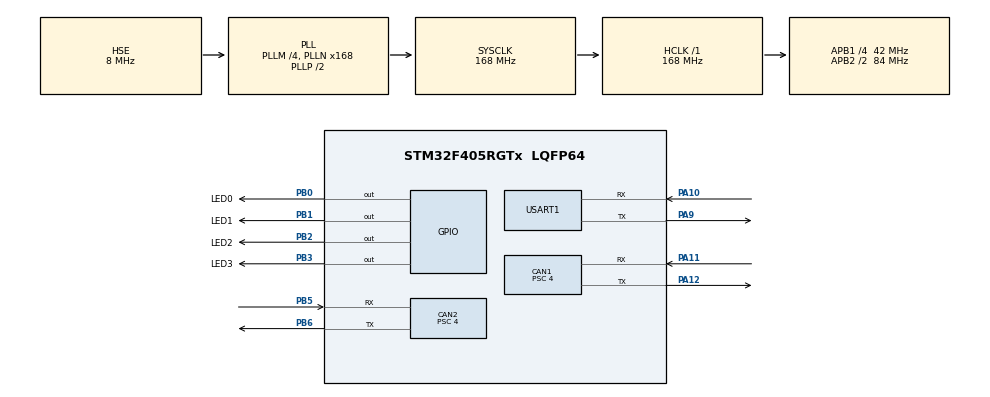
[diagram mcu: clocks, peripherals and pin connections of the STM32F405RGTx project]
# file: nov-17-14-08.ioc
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CAN1.ABOM=ENABLE
CAN1.AWUM=ENABLE
CAN1.BS1=CAN_BS1_16TQ
CAN1.BS2=CAN_BS2_4TQ
CAN1.CalculateBaudRate=500000
CAN1.CalculateTimeBit=2000
CAN1.CalculateTimeQuantum=95.23809523809524
CAN1.Prescaler=4
CAN1.SJW=CAN_SJW_2TQ
CAN2.ABOM=ENABLE
CAN2.AWUM=ENABLE
CAN2.BS1=CAN_BS1_16TQ
CAN2.BS2=CAN_BS2_4TQ
CAN2.CalculateBaudRate=500000
CAN2.CalculateTimeBit=2000
CAN2.CalculateTimeQuantum=95.23809523809524
CAN2.Prescaler=4
CAN2.SJW=CAN_SJW_2TQ
Mcu.Family=STM32F4
Mcu.Name=STM32F405RGTx
Mcu.Package=LQFP64
NVIC.CAN1_RX0_IRQn=true\:0\:0\:false\:false\:true\:true\:true\:true
NVIC.CAN2_RX1_IRQn=true\:0\:0\:false\:false\:true\:true\:true\:true
NVIC.PriorityGroup=NVIC_PRIORITYGROUP_4
NVIC.TIM2_IRQn=true\:0\:0\:false\:false\:true\:true\:true\:true
NVIC.TIM3_IRQn=true\:0\:0\:false\:false\:true\:true\:true\:true
PA10.Mode=Asynchronous
PA10.Signal=USART1_RX
PA11.Mode=CAN_Activate
PA11.Signal=CAN1_RX
PA12.Mode=CAN_Activate
PA12.Signal=CAN1_TX
PA9.Mode=Asynchronous
PA9.Signal=USART1_TX
PB0.GPIO_Label=LED0
PB0.Signal=GPIO_Output
PB1.GPIO_Label=LED1
PB1.Signal=GPIO_Output
PB2.GPIO_Label=LED2
PB2.Signal=GPIO_Output
PB3.GPIO_Label=LED3
PB3.Signal=GPIO_Output
PB5.Mode=CAN_Activate
PB5.Signal=CAN2_RX
PB6.Mode=CAN_Activate
PB6.Signal=CAN2_TX
PH0-OSC_IN.Mode=HSE-External-Oscillator
PH0-OSC_IN.Signal=RCC_OSC_IN
PH1-OSC_OUT.Mode=HSE-External-Oscillator
PH1-OSC_OUT.Signal=RCC_OSC_OUT
ProjectManager.HeapSize=0x200
ProjectManager.StackSize=0x400
ProjectManager.TargetToolchain=STM32CubeIDE
RCC.48MHZClocksFreq_Value=84000000
RCC.AHBFreq_Value=168000000
RCC.APB1CLKDivider=RCC_HCLK_DIV4
RCC.APB1Freq_Value=42000000
RCC.APB1TimFreq_Value=84000000
RCC.APB2CLKDivider=RCC_HCLK_DIV2
RCC.APB2Freq_Value=84000000
RCC.APB2TimFreq_Value=168000000
RCC.CortexFreq_Value=168000000
RCC.HCLKFreq_Value=168000000
RCC.HSE_VALUE=8000000
RCC.HSI_VALUE=16000000
RCC.LSE_VALUE=32768
RCC.PLLM=4
RCC.PLLN=168
RCC.PLLSourceVirtual=RCC_PLLSOURCE_HSE
RCC.SYSCLKFreq_VALUE=168000000
RCC.SYSCLKSource=RCC_SYSCLKSOURCE_PLLCLK
RCC.VCOOutputFreq_Value=336000000
TIM2.Period=1999
TIM2.Prescaler=8399
TIM3.Period=4999
TIM3.Prescaler=8399
USART1.VirtualMode=VM_ASYNC
VP_TIM2_VS_ClockSourceINT.Mode=Internal
VP_TIM3_VS_ClockSourceINT.Mode=Internal
board=custom

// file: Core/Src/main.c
/* USER CODE BEGIN Header */
/**
 ******************************************************************************
 * @file           : main.c
 * @brief          : Main program body
 ******************************************************************************
 * @attention
 *
 * Copyright (c) 2022 STMicroelectronics.
 * All rights reserved.
 *
 * This software is licensed under terms that can be found in the LICENSE file
 * in the root directory of this software component.
 * If no LICENSE file comes with this software, it is provided AS-IS.
 *
 ******************************************************************************
 */
/* USER CODE END Header */
#include "main.h"

/* USER CODE BEGIN Includes */
#include <stdio.h>
#include <string.h>
/* USER CODE END Includes */

/* USER CODE BEGIN PM */
	int idx, crc, temp, temp1, temp2, idy;
	uint16_t timer_val_1;
	uint16_t timer_val_2;
/* USER CODE END PM */

CAN_HandleTypeDef hcan1;
CAN_HandleTypeDef hcan2;

TIM_HandleTypeDef htim2;
TIM_HandleTypeDef htim3;

UART_HandleTypeDef huart1;

/* USER CODE BEGIN PV */
CAN_TxHeaderTypeDef Node1_TxHeader;
CAN_RxHeaderTypeDef Node1_RxHeader;

uint8_t Node1_TxData[8];
uint8_t Node1_RxData[8];

uint32_t Node1_TxMailbox;

int Node1to2 = 0;
int Node2to1 = 0;

CAN_TxHeaderTypeDef Node2_TxHeader;
CAN_RxHeaderTypeDef Node2_RxHeader;

uint8_t Node2_TxData[8];
uint8_t Node2_RxData[8];

uint32_t Node2_TxMailbox;
/* USER CODE END PV */

void SystemClock_Config(void);
static void MX_GPIO_Init(void);
static void MX_CAN1_Init(void);
static void MX_CAN2_Init(void);
static void MX_USART1_UART_Init(void);
static void MX_TIM2_Init(void);
static void MX_TIM3_Init(void);
/* USER CODE BEGIN PFP */
#ifdef __GNUC__
/* With GCC/RAISONANCE, small printf (option LD Linker->Libraries->Small printf
 set to 'Yes') calls __io_putchar() */
#define PUTCHAR_PROTOTYPE int __io_putchar(int ch)
#else
 #define PUTCHAR_PROTOTYPE int fputc(int ch, FILE *f)
#endif /* __GNUC__ */

/* USER CODE END PFP */

/* USER CODE BEGIN 0 */
void HAL_CAN_RxFifo0MsgPendingCallback(CAN_HandleTypeDef *hcan)
{
  HAL_GPIO_WritePin(LED1_GPIO_Port, LED1_Pin, GPIO_PIN_SET);
  HAL_CAN_GetRxMessage(hcan, CAN_RX_FIFO0, &Node1_RxHeader, Node1_RxData);
  if (Node1_RxHeader.DLC == 8)
  {
    printf("2 to 1 (500ms) - Node1 get data: %x-%x-%x-%x-%x-%x-%x-%x\r\n", Node1_RxData[0],Node1_RxData[1],Node1_RxData[2],Node1_RxData[3], Node1_RxData[4], Node1_RxData[5], Node1_RxData[6], Node1_RxData[7]);
    HAL_GPIO_WritePin(LED1_GPIO_Port, LED1_Pin, GPIO_PIN_RESET);
  }
}

void HAL_CAN_RxFifo1MsgPendingCallback(CAN_HandleTypeDef *hcan)
{
  HAL_GPIO_WritePin(LED2_GPIO_Port, LED2_Pin, GPIO_PIN_SET);
  HAL_CAN_GetRxMessage(hcan, CAN_RX_FIFO1, &Node2_RxHeader, Node2_RxData);
  if (Node2_RxHeader.DLC == 8)
  {
    printf("1 to 2 (200ms) - Node2 get data: %x-%x-%x-%x-%x-%x-%x-%x\r\n", Node2_RxData[0],Node2_RxData[1],Node2_RxData[2],Node2_RxData[3], Node2_RxData[4], Node2_RxData[5], Node2_RxData[6], Node2_RxData[7]);
    HAL_GPIO_WritePin(LED2_GPIO_Port, LED2_Pin, GPIO_PIN_RESET);
  }
}
void HAL_TIM_PeriodElapsedCallback(TIM_HandleTypeDef *htim)
{
 if(htim->Instance == htim2.Instance)
 {
//   HAL_GPIO_TogglePin(GPIOB, LED1_Pin);
//   printf("gud timer 2\r\n");
   Node1to2 = 1;
 }
 if(htim->Instance == htim3.Instance)
  {
//	   HAL_GPIO_TogglePin(GPIOB, LED2_Pin);
//	   printf("gud timer 3\r\n");
    Node2to1 = 1;
  }
}
int calc_SAE_J1850(uint8_t data[], int crc_len)
{
	crc = 0;
	idx = 0;
	idy = 0;
	temp = 0;
	temp1 = 0;
	temp2 = 0;
	for(idx = 0; idx < crc_len+1; idx++)
	{
		if(idx == 0)
		{
			temp1 = 0;
		}
		else
		{
			temp1 = data[crc_len - idx];
		}
		crc = (crc^temp1);
		for (idy = 8; idy > 0; idy--)
		{
			// save the value befor the top bit is shifted out.
			temp2 = crc;
			crc <<= 1;
			if (0 != (temp2 & 128*2))
			{
				crc ^= 0x1D;
			}
		}
	}
	return crc;
}
/* USER CODE END 0 */

int main(void)
{

  /* MCU Configuration--------------------------------------------------------*/

  /* Reset of all peripherals, Initializes the Flash interface and the Systick. */
  HAL_Init();

  /* Configure the system clock */
  SystemClock_Config();

  /* Initialize all configured peripherals */
  MX_GPIO_Init();
  MX_CAN1_Init();
  MX_CAN2_Init();
  MX_USART1_UART_Init();
  MX_TIM2_Init();
  MX_TIM3_Init();
  /* USER CODE BEGIN 2 */
  HAL_CAN_Start(&hcan1);
  HAL_CAN_Start(&hcan2);
  // start timer 2 3
  HAL_TIM_Base_Start_IT(&htim2);
  HAL_TIM_Base_Start_IT(&htim3);

  // Activate the notification
  HAL_CAN_ActivateNotification(&hcan1, CAN_IT_RX_FIFO0_MSG_PENDING);
  // Activate the notification
  HAL_CAN_ActivateNotification(&hcan2, CAN_IT_RX_FIFO1_MSG_PENDING);

  Node1_TxHeader.DLC = 8;  // data length
  Node1_TxHeader.IDE = CAN_ID_STD;
  Node1_TxHeader.RTR = CAN_RTR_DATA;
  Node1_TxHeader.StdId = 0x012;  // ID

  Node1_TxData[0] = 0x55;
  Node1_TxData[1] = 0x55;
  Node1_TxData[2] = 0x55;
  Node1_TxData[3] = 0x55;
  Node1_TxData[4] = 0x55;
  Node1_TxData[5] = 0x55;
  Node1_TxData[6] = 0;
  Node1_TxData[7] = 0;

  Node2_TxHeader.DLC = 8;  // data length
  Node2_TxHeader.IDE = CAN_ID_STD;
  Node2_TxHeader.RTR = CAN_RTR_DATA;
  Node2_TxHeader.StdId = 0x0A2;  // ID

  Node2_TxData[0] = 0xAA;
  Node2_TxData[1] = 0xAA;
  Node2_TxData[2] = 0xAA;
  Node2_TxData[3] = 0xAA;
  Node2_TxData[4] = 0xAA;
  Node2_TxData[5] = 0xAA;
  Node2_TxData[6] = 0xAA;
  Node2_TxData[7] = 0x0;
  /* USER CODE END 2 */

  /* Infinite loop */
  /* USER CODE BEGIN WHILE */
  while (1)
  {
//    HAL_GPIO_TogglePin(LED1_GPIO_Port, LED0_Pin);
//    HAL_CAN_AddTxMessage(&hcan1, &Node1_TxHeader, Node1_TxData,
//        &Node1_TxMailbox);
//    HAL_CAN_AddTxMessage(&hcan2, &Node2_TxHeader, Node2_TxData,
//        &Node2_TxMailbox);
//    HAL_Delay(500);
    /* USER CODE END WHILE */

    /* USER CODE BEGIN 3 */
	  if (Node2to1 == 1)
	  {
		  // add message node 2 to 1
//		 HAL_GPIO_TogglePin(GPIOB, LED0_Pin);

		 Node2_TxData[7] ++; // so goi tin da gui di
		 HAL_CAN_AddTxMessage(&hcan2, &Node2_TxHeader, Node2_TxData,
			 &Node2_TxMailbox);
		 Node2to1 = 0; // flag for timer
	  }
	  if (Node1to2 == 1)
	  {
		  // add message node 1 to 2
//		 HAL_GPIO_TogglePin(GPIOB, LED1_Pin);

		 Node1_TxData[6] = Node2_TxData[7] + 1;
		 Node1_TxData[7] = calc_SAE_J1850(Node1_TxData, 7);
		 HAL_CAN_AddTxMessage(&hcan1, &Node1_TxHeader, Node1_TxData,
			 &Node1_TxMailbox);
		 Node1to2 = 0; // flag for timer
	  }
  }
  /* USER CODE END 3 */
}

void SystemClock_Config(void)
{
  RCC_OscInitTypeDef RCC_OscInitStruct = {0};
  RCC_ClkInitTypeDef RCC_ClkInitStruct = {0};

  /** Configure the main internal regulator output voltage
  */
  __HAL_RCC_PWR_CLK_ENABLE();
  __HAL_PWR_VOLTAGESCALING_CONFIG(PWR_REGULATOR_VOLTAGE_SCALE1);

  /** Initializes the RCC Oscillators according to the specified parameters
  * in the RCC_OscInitTypeDef structure.
  */
  RCC_OscInitStruct.OscillatorType = RCC_OSCILLATORTYPE_HSE;
  RCC_OscInitStruct.HSEState = RCC_HSE_ON;
  RCC_OscInitStruct.PLL.PLLState = RCC_PLL_ON;
  RCC_OscInitStruct.PLL.PLLSource = RCC_PLLSOURCE_HSE;
  RCC_OscInitStruct.PLL.PLLM = 4;
  RCC_OscInitStruct.PLL.PLLN = 168;
  RCC_OscInitStruct.PLL.PLLP = RCC_PLLP_DIV2;
  RCC_OscInitStruct.PLL.PLLQ = 4;
  if (HAL_RCC_OscConfig(&RCC_OscInitStruct) != HAL_OK)
  {
    Error_Handler();
  }

  /** Initializes the CPU, AHB and APB buses clocks
  */
  RCC_ClkInitStruct.ClockType = RCC_CLOCKTYPE_HCLK|RCC_CLOCKTYPE_SYSCLK
                              |RCC_CLOCKTYPE_PCLK1|RCC_CLOCKTYPE_PCLK2;
  RCC_ClkInitStruct.SYSCLKSource = RCC_SYSCLKSOURCE_PLLCLK;
  RCC_ClkInitStruct.AHBCLKDivider = RCC_SYSCLK_DIV1;
  RCC_ClkInitStruct.APB1CLKDivider = RCC_HCLK_DIV4;
  RCC_ClkInitStruct.APB2CLKDivider = RCC_HCLK_DIV2;

  if (HAL_RCC_ClockConfig(&RCC_ClkInitStruct, FLASH_LATENCY_5) != HAL_OK)
  {
    Error_Handler();
  }
}

static void MX_CAN1_Init(void)
{

  hcan1.Instance = CAN1;
  hcan1.Init.Prescaler = 4;
  hcan1.Init.Mode = CAN_MODE_NORMAL;
  hcan1.Init.SyncJumpWidth = CAN_SJW_2TQ;
  hcan1.Init.TimeSeg1 = CAN_BS1_16TQ;
  hcan1.Init.TimeSeg2 = CAN_BS2_4TQ;
  hcan1.Init.TimeTriggeredMode = DISABLE;
  hcan1.Init.AutoBusOff = ENABLE;
  hcan1.Init.AutoWakeUp = ENABLE;
  hcan1.Init.AutoRetransmission = DISABLE;
  hcan1.Init.ReceiveFifoLocked = DISABLE;
  hcan1.Init.TransmitFifoPriority = DISABLE;
  if (HAL_CAN_Init(&hcan1) != HAL_OK)
  {
    Error_Handler();
  }
  /* USER CODE BEGIN CAN1_Init 2 */
  CAN_FilterTypeDef canfilterconfig;

  canfilterconfig.FilterActivation = CAN_FILTER_ENABLE;
  canfilterconfig.FilterBank = 18; // which filter bank to use from the assigned ones
  canfilterconfig.FilterFIFOAssignment = CAN_FILTER_FIFO0;
  canfilterconfig.FilterIdHigh = 0x0A2 << 5;
  canfilterconfig.FilterIdLow = 0;
  canfilterconfig.FilterMaskIdHigh = 0x0A2 << 5;
  canfilterconfig.FilterMaskIdLow = 0x0000;
  canfilterconfig.FilterMode = CAN_FILTERMODE_IDMASK;
  canfilterconfig.FilterScale = CAN_FILTERSCALE_32BIT;
  canfilterconfig.SlaveStartFilterBank = 20; // how many filters to assign to the CAN1 (master can)

  HAL_CAN_ConfigFilter(&hcan1, &canfilterconfig);
  /* USER CODE END CAN1_Init 2 */

}

static void MX_CAN2_Init(void)
{

  hcan2.Instance = CAN2;
  hcan2.Init.Prescaler = 4;
  hcan2.Init.Mode = CAN_MODE_NORMAL;
  hcan2.Init.SyncJumpWidth = CAN_SJW_2TQ;
  hcan2.Init.TimeSeg1 = CAN_BS1_16TQ;
  hcan2.Init.TimeSeg2 = CAN_BS2_4TQ;
  hcan2.Init.TimeTriggeredMode = DISABLE;
  hcan2.Init.AutoBusOff = ENABLE;
  hcan2.Init.AutoWakeUp = ENABLE;
  hcan2.Init.AutoRetransmission = DISABLE;
  hcan2.Init.ReceiveFifoLocked = DISABLE;
  hcan2.Init.TransmitFifoPriority = DISABLE;
  if (HAL_CAN_Init(&hcan2) != HAL_OK)
  {
    Error_Handler();
  }
  /* USER CODE BEGIN CAN2_Init 2 */
  CAN_FilterTypeDef canfilterconfig;

  canfilterconfig.FilterActivation = CAN_FILTER_ENABLE;
  canfilterconfig.FilterBank = 10; // which filter bank to use from the assigned ones
  canfilterconfig.FilterFIFOAssignment = CAN_FILTER_FIFO1;
  canfilterconfig.FilterIdHigh = 0x012 << 5;
  canfilterconfig.FilterIdLow = 0;
  canfilterconfig.FilterMaskIdHigh = 0x012 << 5;
  canfilterconfig.FilterMaskIdLow = 0x0000;
  canfilterconfig.FilterMode = CAN_FILTERMODE_IDMASK;
  canfilterconfig.FilterScale = CAN_FILTERSCALE_32BIT;
  canfilterconfig.SlaveStartFilterBank = 0; // doesn't matter in single can controllers

  HAL_CAN_ConfigFilter(&hcan2, &canfilterconfig);
  /* USER CODE END CAN2_Init 2 */

}

static void MX_TIM2_Init(void)
{

  TIM_ClockConfigTypeDef sClockSourceConfig = {0};
  TIM_MasterConfigTypeDef sMasterConfig = {0};

  htim2.Instance = TIM2;
  htim2.Init.Prescaler = 8399;
  htim2.Init.CounterMode = TIM_COUNTERMODE_UP;
  htim2.Init.Period = 1999;
  htim2.Init.ClockDivision = TIM_CLOCKDIVISION_DIV1;
  htim2.Init.AutoReloadPreload = TIM_AUTORELOAD_PRELOAD_DISABLE;
  if (HAL_TIM_Base_Init(&htim2) != HAL_OK)
  {
    Error_Handler();
  }
  sClockSourceConfig.ClockSource = TIM_CLOCKSOURCE_INTERNAL;
  if (HAL_TIM_ConfigClockSource(&htim2, &sClockSourceConfig) != HAL_OK)
  {
    Error_Handler();
  }
  sMasterConfig.MasterOutputTrigger = TIM_TRGO_RESET;
  sMasterConfig.MasterSlaveMode = TIM_MASTERSLAVEMODE_DISABLE;
  if (HAL_TIMEx_MasterConfigSynchronization(&htim2, &sMasterConfig) != HAL_OK)
  {
    Error_Handler();
  }

}

static void MX_TIM3_Init(void)
{

  TIM_ClockConfigTypeDef sClockSourceConfig = {0};
  TIM_MasterConfigTypeDef sMasterConfig = {0};

  htim3.Instance = TIM3;
  htim3.Init.Prescaler = 8399;
  htim3.Init.CounterMode = TIM_COUNTERMODE_UP;
  htim3.Init.Period = 4999;
  htim3.Init.ClockDivision = TIM_CLOCKDIVISION_DIV1;
  htim3.Init.AutoReloadPreload = TIM_AUTORELOAD_PRELOAD_DISABLE;
  if (HAL_TIM_Base_Init(&htim3) != HAL_OK)
  {
    Error_Handler();
  }
  sClockSourceConfig.ClockSource = TIM_CLOCKSOURCE_INTERNAL;
  if (HAL_TIM_ConfigClockSource(&htim3, &sClockSourceConfig) != HAL_OK)
  {
    Error_Handler();
  }
  sMasterConfig.MasterOutputTrigger = TIM_TRGO_RESET;
  sMasterConfig.MasterSlaveMode = TIM_MASTERSLAVEMODE_DISABLE;
  if (HAL_TIMEx_MasterConfigSynchronization(&htim3, &sMasterConfig) != HAL_OK)
  {
    Error_Handler();
  }

}

static void MX_USART1_UART_Init(void)
{

  huart1.Instance = USART1;
  huart1.Init.BaudRate = 115200;
  huart1.Init.WordLength = UART_WORDLENGTH_8B;
  huart1.Init.StopBits = UART_STOPBITS_1;
  huart1.Init.Parity = UART_PARITY_NONE;
  huart1.Init.Mode = UART_MODE_TX_RX;
  huart1.Init.HwFlowCtl = UART_HWCONTROL_NONE;
  huart1.Init.OverSampling = UART_OVERSAMPLING_16;
  if (HAL_UART_Init(&huart1) != HAL_OK)
  {
    Error_Handler();
  }

}

static void MX_GPIO_Init(void)
{
  GPIO_InitTypeDef GPIO_InitStruct = {0};

  /* GPIO Ports Clock Enable */
  __HAL_RCC_GPIOH_CLK_ENABLE();
  __HAL_RCC_GPIOB_CLK_ENABLE();
  __HAL_RCC_GPIOA_CLK_ENABLE();

  /*Configure GPIO pin Output Level */
  HAL_GPIO_WritePin(GPIOB, LED0_Pin|LED1_Pin|LED2_Pin|LED3_Pin, GPIO_PIN_RESET);

  /*Configure GPIO pins : LED0_Pin LED1_Pin LED2_Pin LED3_Pin */
  GPIO_InitStruct.Pin = LED0_Pin|LED1_Pin|LED2_Pin|LED3_Pin;
  GPIO_InitStruct.Mode = GPIO_MODE_OUTPUT_PP;
  GPIO_InitStruct.Pull = GPIO_NOPULL;
  GPIO_InitStruct.Speed = GPIO_SPEED_FREQ_LOW;
  HAL_GPIO_Init(GPIOB, &GPIO_InitStruct);

}

/* USER CODE BEGIN 4 */
/**
 * @brief Retargets the C library printf function to the USART.
 * @param None
 * @retval None
 */
PUTCHAR_PROTOTYPE
{
  /* Place your implementation of fputc here */
  /* e.g. write a character to the USART */
  HAL_UART_Transmit(&huart1, (uint8_t*) &ch, 1, 200);
  return ch;
}

/* USER CODE END 4 */

void Error_Handler(void)
{
  __disable_irq();
  while (1)
  {
  }
}
